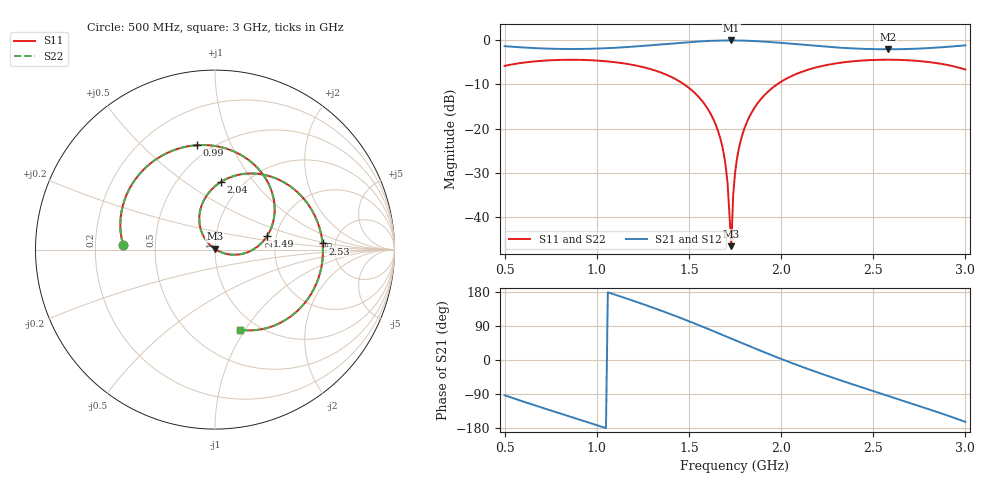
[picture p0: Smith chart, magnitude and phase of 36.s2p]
!freq-unit  param-type  data-format  keyword  impedance-ohms
# GHZ  S  RI  R  50
!Freq  ReS11  ImS11  ReS21  ImS21  ReS12  ImS12  ReS22  ImS22
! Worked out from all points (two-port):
!   251 points, 500 MHz to 3 GHz, reference 50 ohm
!   highest |S21| = -0.07 dB at 1.73 GHz (marker M1); lowest = -2.1 dB at 2.58 GHz (marker M2)
!   |S21| within 3 dB of the highest: start of sweep to end of sweep
!   lowest |S11| = -46.5 dB at 1.73 GHz (marker M3), VSWR 1.01, Z = 49.8 + j0.446 ohm
!   |S11| at or under -10 dB: 1.475 GHz to 1.978 GHz (502.7 MHz wide, 29.1 % of centre)
!   |S22| runs from -46.5 to -4.4 dB; largest |S21 - S12| = 0
!   S11 on the Smith chart (normalised r, x): 500 MHz: 0.32, +0.02; 990 MHz: 0.42, +0.75; 1.49 GHz: 1.79, +0.30; 2.04 GHz: 0.80, +0.70; 2.53 GHz: 3.95, +0.43; 3 GHz: 0.83, -0.94
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0.5  -0.5121 0.0284  -0.0462 -0.8539  -0.0462 -0.8539  -0.5121 0.0284
0.69  -0.4844 0.3237  -0.449 -0.6727  -0.449 -0.6727  -0.4844 0.3237
0.92  -0.2109 0.5604  -0.7451 -0.2802  -0.7451 -0.2802  -0.2109 0.5604
0.99  -0.1 0.5818  -0.7906 -0.1354  -0.7906 -0.1354  -0.1 0.5818
1.17  0.1747 0.5082  -0.7917 0.2737  -0.7917 0.2737  0.1747 0.5082
1.34  0.3245 0.2935  -0.5965 0.6645  -0.5965 0.6645  0.3245 0.2935
1.49  0.2905 0.0762  -0.2334 0.9179  -0.2334 0.9179  0.2905 0.0762
1.6  0.1694 -0.0189  0.1232 0.9705  0.1232 0.9705  0.1694 -0.0189
1.67  0.0739 -0.0258  0.3598 0.9219  0.3598 0.9219  0.0739 -0.0258
1.71  0.022 -0.00917  0.4877 0.8641  0.4877 0.8641  0.022 -0.00917
1.73  -0.00155 0.00448  0.5479 0.8275  0.5479 0.8275  -0.00155 0.00448
1.74  -0.0126 0.0125  0.5769 0.8074  0.5769 0.8074  -0.0126 0.0125
1.75  -0.023 0.0213  0.6049 0.7861  0.6049 0.7861  -0.023 0.0213
1.78  -0.0502 0.052  0.6835 0.7158  0.6835 0.7158  -0.0502 0.052
1.84  -0.0832 0.1276  0.811 0.5511  0.811 0.5511  -0.0832 0.1276
2.04  0.0326 0.3769  0.9145 -0.073  0.9145 -0.073  0.0326 0.3769
2.17  0.2266 0.4233  0.7676 -0.4066  0.7676 -0.4066  0.2266 0.4233
2.53  0.5992 0.0344  0.0456 -0.7891  0.0456 -0.7891  0.5992 0.0344
2.58  0.5998 -0.0475  -0.0623 -0.7867  -0.0623 -0.7867  0.5998 -0.0475
2.59  0.5982 -0.0638  -0.0839 -0.7848  -0.0839 -0.7848  0.5982 -0.0638
2.8  0.4386 -0.3592  -0.517 -0.6282  -0.517 -0.6282  0.4386 -0.3592
3  0.1368 -0.4456  -0.837 -0.2515  -0.837 -0.2515  0.1368 -0.4456
